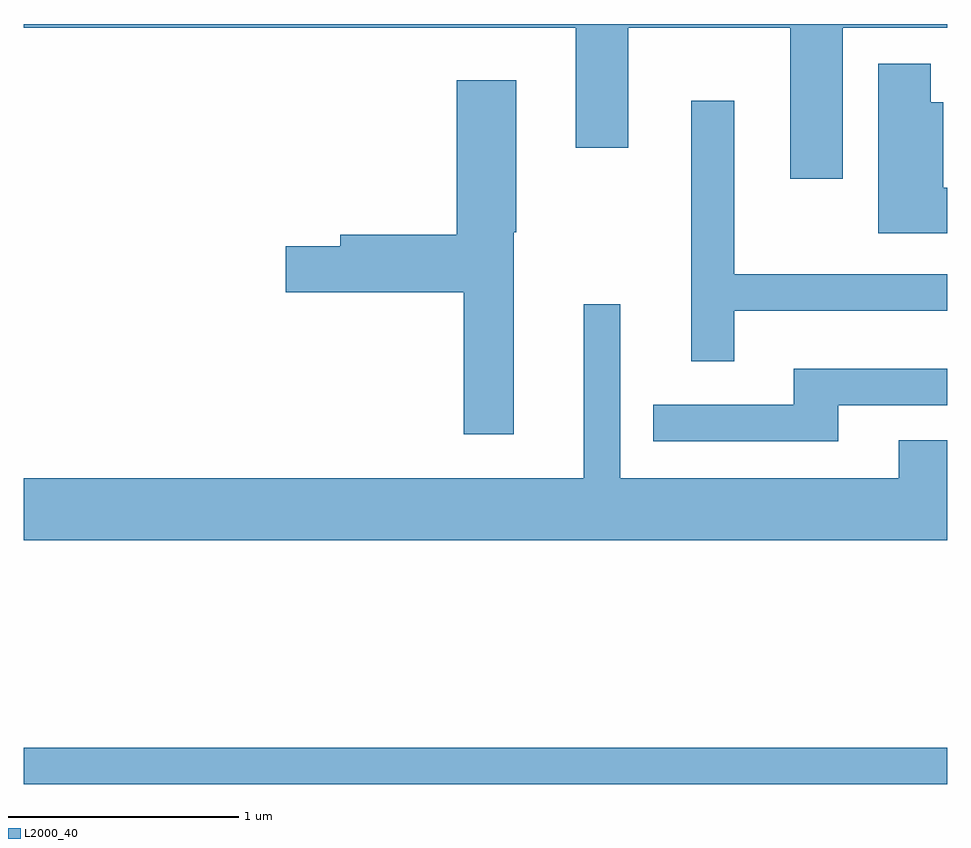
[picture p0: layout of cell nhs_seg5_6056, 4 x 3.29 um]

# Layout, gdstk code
import gdstk
lib = gdstk.Library(unit=1e-6, precision=1e-09)
def R(c, l, rs):  # rectangles x0, y0, x1, y1
    for r in rs: c.add(gdstk.rectangle(r[:2], r[2:], *l))
def P(c, l, *ps):  # polygons
    for p in ps: c.add(gdstk.Polygon(p, *l))
L2000_40 = (2000, 40)

nhs_seg5_6056 = lib.new_cell('nhs_seg5_6056')
R(nhs_seg5_6056, L2000_40, [(363.611,1526.781,367.611,1526.939)])
P(nhs_seg5_6056, L2000_40, [(363.611,1530.056),(366.001,1530.056),(366.001,1529.536),(366.229,1529.536),(366.229,1530.056),(366.931,1530.056),(366.931,1529.401),(367.159,1529.401),(367.159,1530.056),(367.611,1530.056),(367.611,1530.072),(363.611,1530.072)],
  [(367.611,1529.364),(367.594,1529.364),(367.594,1529.734),(367.539,1529.734),(367.539,1529.899),(367.311,1529.899),(367.311,1529.166),(367.611,1529.166)],
  [(365.734,1529.17),(365.744,1529.17),(365.744,1529.829),(365.486,1529.829),(365.486,1529.159),(364.981,1529.159),(364.981,1529.109),(364.746,1529.109),(364.746,1528.911),(365.516,1528.911),(365.516,1528.296),(365.734,1528.296)],
  [(366.689,1528.831),(367.611,1528.831),(367.611,1528.989),(366.689,1528.989),(366.689,1529.739),(366.501,1529.739),(366.501,1528.611),(366.689,1528.611)],
  [(367.611,1528.269),(367.401,1528.269),(367.401,1528.104),(366.194,1528.104),(366.194,1528.858),(366.036,1528.858),(366.036,1528.104),(363.611,1528.104),(363.611,1527.836),(367.611,1527.836)],
  [(367.139,1528.421),(367.611,1528.421),(367.611,1528.579),(366.946,1528.579),(366.946,1528.424),(366.338,1528.424),(366.338,1528.266),(367.139,1528.266)])

lib.write_gds('nhs_seg5_6056.gds')
